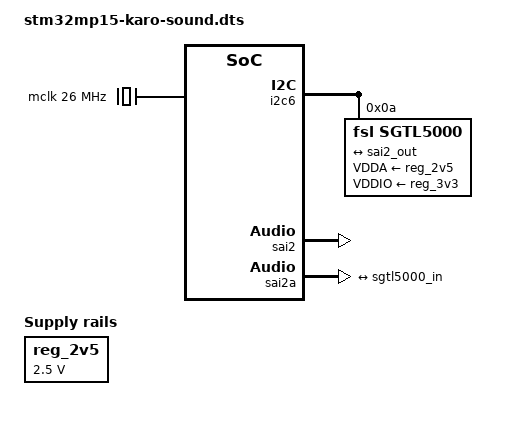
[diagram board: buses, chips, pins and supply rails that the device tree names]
// SPDX-License-Identifier: (GPL-2.0 OR BSD-3-Clause)
/*
 * Copyright (C) 2022 Lothar Waßmann <LW@KARO-electronics.de>
 */

/dts-v1/;

/plugin/;

#include <dt-bindings/clock/stm32mp1-clks.h>
#include <dt-bindings/gpio/gpio.h>
#include <dt-bindings/interrupt-controller/arm-gic.h>

&{/chosen} {
	overlays {
		karo-sound;
	};
};

&{/} {
	mclk: codec-mclk {
		compatible = "fixed-clock";
		#clock-cells = <0>;
		clock-frequency = <26000000>;
	};

	reg_2v5: regulator-2v5 {
		compatible = "regulator-fixed";
		regulator-name = "2v5";
		regulator-min-microvolt = <2500000>;
		regulator-max-microvolt = <2500000>;
		regulator-always-on;
	};

	sound {
		compatible = "karo,stm32mp15-sgtl5000",
			     "audio-graph-card";
		label = "TXMP-SGTL5000";
		widgets =
			"Microphone", "Mic Jack",
			"Line", "Line In",
			"Line", "Line Out",
			"Headphone", "Headphone Jack";
		routing =
			"MIC_IN", "Mic Jack",
			"Mic Jack", "Mic Bias",
			"Headphone Jack", "HP_OUT";
		dais = <&sai2a_port>;
		status = "okay";
	};
};

&i2c6 {
	status = "okay";

	sgtl5000: codec@a {
		compatible = "fsl,sgtl5000";
		#sound-dai-cells = <0>;
		reg = <0xa>;
		VDDA-supply = <&reg_2v5>;
		VDDIO-supply = <&reg_3v3>;
		clocks = <&mclk>;
		status = "okay";

		port {
			sgtl5000_in: endpoint {
				remote-endpoint = <&sai2_out>;
			};
		};
	};
};

&sai2 {
	clocks = <&rcc SAI2>, <&rcc PLL3_Q>, <&rcc PLL3_R>;
	clock-names = "pclk", "x8k", "x11k";
	status = "okay";
};

&sai2a {
	#clock-cells = <0>;
	dma-names = "tx";
	status = "okay";

	sai2a_port: port {
		sai2_out: endpoint {
			remote-endpoint = <&sgtl5000_in>;
			dai-format = "i2s";
			bitclock-master = <&sgtl5000>;
			mclk-fs = <256>;
		};
	};
};
